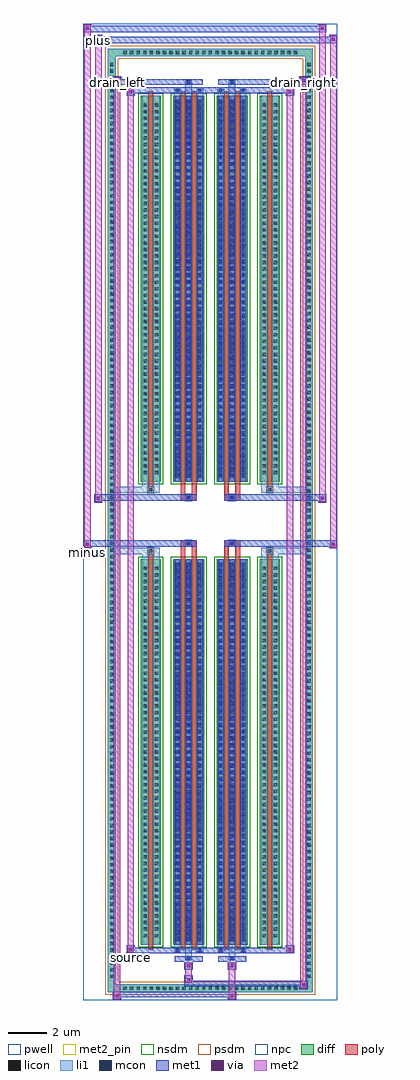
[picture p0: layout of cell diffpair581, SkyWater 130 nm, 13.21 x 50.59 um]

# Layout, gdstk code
import gdstk
lib = gdstk.Library(unit=1e-6, precision=5e-09)
def R(c, l, rs):  # rectangles x0, y0, x1, y1
    for r in rs: c.add(gdstk.rectangle(r[:2], r[2:], *l))
def A(c, l, x, y, w, h, nx, ny, dx, dy):  # array of equal rectangles
    R(c, l, [(x+i*dx, y+j*dy, x+i*dx+w, y+j*dy+h) for i in range(nx) for j in range(ny)])
def P(c, l, *ps):  # polygons
    for p in ps: c.add(gdstk.Polygon(p, *l))
pwell = (64, 44)
diff = (65, 20)
poly = (66, 20)
licon = (66, 44)
li1 = (67, 20)
mcon = (67, 44)
met1 = (68, 20)
via = (68, 44)
met2_pin = (69, 16)
met2 = (69, 20)
nsdm = (93, 44)
psdm = (94, 20)
npc = (95, 20)

diffpair581 = lib.new_cell('diffpair581')
R(diffpair581, pwell, [(-6.59,-24.86,6.59,25.73), (-3.91,-23.05,-0.01,-0.825), (0.01,-23.05,3.91,-0.825), (-3.91,0.825,-0.01,23.05), (0.01,0.825,3.91,23.05)])
A(diffpair581, diff, -4.625, -24.46, 0.41, 0.41, 27, 2, 0.34, 48.51)
A(diffpair581, diff, -5.32, -23.835, 0.41, 0.41, 1, 140, 0, 0.34)
A(diffpair581, diff, 4.91, -23.835, 0.41, 0.41, 1, 140, 0, 0.34)
R(diffpair581, diff, [(-4.625,-24.46,4.625,-24.05), (-5.32,-23.835,-4.91,23.835), (4.91,-23.835,5.32,23.835), (-3.6,-22.005,-2.57,-2.005), (-1.93,-22.005,-0.32,-2.005), (0.32,-22.005,1.93,-2.005), (2.57,-22.005,3.6,-2.005), (-3.6,2.005,-2.57,22.005), (-1.93,2.005,-0.32,22.005), (0.32,2.005,1.93,22.005), (2.57,2.005,3.6,22.005), (-4.625,24.05,4.625,24.46)])
P(diffpair581, diff, [(5.32,24.46),(-5.32,24.46),(-5.32,-24.05),(-4.91,-24.05),(-4.91,24.05),(4.91,24.05),(4.91,-24.05),(-4.91,-24.05),(-5.32,-24.05),(-5.32,-24.46),(5.32,-24.46)])
R(diffpair581, poly, [(-3.21,-22.255,-2.96,-1.755), (-1.54,-22.255,-1.29,-1.755), (-0.96,-22.255,-0.71,-1.755), (0.71,-22.255,0.96,-1.755), (1.29,-22.255,1.54,-1.755), (2.96,-22.255,3.21,-1.755), (-3.25,-1.755,-2.92,-1.425), (-3.25,-1.755,-2.92,-1.425), (-1.54,-1.755,-1.29,-1.355), (-0.96,-1.755,-0.71,-1.355), (0.71,-1.755,0.96,-1.355), (1.29,-1.755,1.54,-1.355), (2.92,-1.755,3.25,-1.425), (2.92,-1.755,3.25,-1.425), (-1.54,-1.355,-0.71,-1.025), (-1.29,-1.355,-0.96,-1.025), (0.71,-1.355,1.54,-1.025), (0.96,-1.355,1.29,-1.025), (-1.54,1.025,-0.71,1.355), (-1.29,1.025,-0.96,1.355), (0.71,1.025,1.54,1.355), (0.96,1.025,1.29,1.355), (-1.54,1.355,-1.29,1.755), (-0.96,1.355,-0.71,1.755), (0.71,1.355,0.96,1.755), (1.29,1.355,1.54,1.755), (-3.25,1.425,-2.92,1.755), (-3.25,1.425,-2.92,1.755), (2.92,1.425,3.25,1.755), (2.92,1.425,3.25,1.755), (-3.21,1.755,-2.96,22.255), (-1.54,1.755,-1.29,22.255), (-0.96,1.755,-0.71,22.255), (0.71,1.755,0.96,22.255), (1.29,1.755,1.54,22.255), (2.96,1.755,3.21,22.255)])
A(diffpair581, licon, -4.505, -24.34, 0.17, 0.17, 27, 2, 0.34, 48.51)
A(diffpair581, licon, -5.2, -23.715, 0.17, 0.17, 1, 140, 0, 0.34)
A(diffpair581, licon, 5.03, -23.715, 0.17, 0.17, 1, 140, 0, 0.34)
A(diffpair581, licon, -3.46, -21.61, 0.17, 0.17, 1, 57, 0, 0.34)
A(diffpair581, licon, -2.88, -21.61, 0.17, 0.17, 1, 57, 0, 0.34)
A(diffpair581, licon, -1.79, -21.61, 0.17, 0.17, 3, 57, 0.58, 0.34)
A(diffpair581, licon, 0.46, -21.61, 0.17, 0.17, 3, 57, 0.58, 0.34)
A(diffpair581, licon, 2.71, -21.61, 0.17, 0.17, 1, 57, 0, 0.34)
A(diffpair581, licon, 3.29, -21.61, 0.17, 0.17, 1, 57, 0, 0.34)
A(diffpair581, licon, -3.46, 2.4, 0.17, 0.17, 1, 57, 0, 0.34)
A(diffpair581, licon, -2.88, 2.4, 0.17, 0.17, 1, 57, 0, 0.34)
A(diffpair581, licon, -1.79, 2.4, 0.17, 0.17, 3, 57, 0.58, 0.34)
A(diffpair581, licon, 0.46, 2.4, 0.17, 0.17, 3, 57, 0.58, 0.34)
A(diffpair581, licon, 2.71, 2.4, 0.17, 0.17, 1, 57, 0, 0.34)
A(diffpair581, licon, 3.29, 2.4, 0.17, 0.17, 1, 57, 0, 0.34)
R(diffpair581, licon, [(-3.17,-1.675,-3,-1.505), (3,-1.675,3.17,-1.505), (-1.21,-1.275,-1.04,-1.105), (1.04,-1.275,1.21,-1.105), (-1.21,1.105,-1.04,1.275), (1.04,1.105,1.21,1.275), (-3.17,1.505,-3,1.675), (3,1.505,3.17,1.675)])
A(diffpair581, li1, -4.585, -24.42, 0.33, 0.33, 27, 2, 0.34, 48.51)
A(diffpair581, li1, -5.28, -23.795, 0.33, 0.33, 1, 140, 0, 0.34)
A(diffpair581, li1, 4.95, -23.795, 0.33, 0.33, 1, 140, 0, 0.34)
A(diffpair581, li1, -1.87, -22.005, 0.33, 20, 3, 2, 0.58, 24.01)
A(diffpair581, li1, 0.38, -22.005, 0.33, 20, 3, 2, 0.58, 24.01)
A(diffpair581, li1, -1.79, -21.81, 0.17, 0.17, 3, 55, 0.58, 0.36)
A(diffpair581, li1, -1.79, -21.81, 0.17, 19.61, 3, 2, 0.58, 24.01)
A(diffpair581, li1, 0.46, -21.81, 0.17, 0.17, 3, 55, 0.58, 0.36)
A(diffpair581, li1, 0.46, -21.81, 0.17, 19.61, 3, 2, 0.58, 24.01)
A(diffpair581, li1, -3.54, -21.69, 0.33, 0.33, 1, 57, 0, 0.34)
A(diffpair581, li1, -2.96, -21.69, 0.33, 0.33, 1, 57, 0, 0.34)
A(diffpair581, li1, -1.87, -21.69, 0.33, 0.33, 3, 57, 0.58, 0.34)
A(diffpair581, li1, 0.38, -21.69, 0.33, 0.33, 3, 57, 0.58, 0.34)
A(diffpair581, li1, 2.63, -21.69, 0.33, 0.33, 1, 57, 0, 0.34)
A(diffpair581, li1, 3.21, -21.69, 0.33, 0.33, 1, 57, 0, 0.34)
A(diffpair581, li1, -1.79, 2.2, 0.17, 0.17, 3, 55, 0.58, 0.36)
A(diffpair581, li1, 0.46, 2.2, 0.17, 0.17, 3, 55, 0.58, 0.36)
A(diffpair581, li1, -3.54, 2.32, 0.33, 0.33, 1, 57, 0, 0.34)
A(diffpair581, li1, -2.96, 2.32, 0.33, 0.33, 1, 57, 0, 0.34)
A(diffpair581, li1, -1.87, 2.32, 0.33, 0.33, 3, 57, 0.58, 0.34)
A(diffpair581, li1, 0.38, 2.32, 0.33, 0.33, 3, 57, 0.58, 0.34)
A(diffpair581, li1, 2.63, 2.32, 0.33, 0.33, 1, 57, 0, 0.34)
A(diffpair581, li1, 3.21, 2.32, 0.33, 0.33, 1, 57, 0, 0.34)
R(diffpair581, li1, [(-5.32,-24.46,-4.91,-24.05), (-5.32,-24.46,-4.91,-24.05), (-4.91,-24.46,4.91,-24.05), (4.91,-24.46,5.32,-24.05), (4.91,-24.46,5.32,-24.05), (-5.32,-24.05,-4.91,24.05), (4.91,-24.05,5.32,24.05), (-1.29,-22.81,-0.96,-22.005), (-1.21,-22.81,-1.04,-22.64), (0.96,-22.81,1.29,-22.005), (1.04,-22.81,1.21,-22.64), (-1.87,-22.38,-1.54,-22.005), (-1.79,-22.38,-1.62,-22.21), (-0.71,-22.38,-0.38,-22.005), (-0.63,-22.38,-0.46,-22.21), (0.38,-22.38,0.71,-22.005), (0.46,-22.38,0.63,-22.21), (1.54,-22.38,1.87,-22.005), (1.62,-22.38,1.79,-22.21), (-3.54,-22.005,-3.21,-2.005), (-2.96,-22.005,-2.63,-2.005), (2.63,-22.005,2.96,-2.005), (3.21,-22.005,3.54,-2.005), (-3.54,-2.005,-3.21,-1.425), (-2.96,-2.005,-2.63,-1.425), (2.63,-2.005,2.96,-1.425), (3.21,-2.005,3.54,-1.425), (-5.32,-1.755,-3.25,-1.425), (-3.54,-1.755,-3.25,-1.425), (-3.25,-1.755,-2.92,-1.425), (-2.92,-1.755,-2.63,-1.425), (2.63,-1.755,2.92,-1.425), (2.92,-1.755,3.25,-1.425), (2.92,-1.755,5.32,-1.425), (3.25,-1.755,3.54,-1.425), (-1.29,-1.355,-0.96,-1.025), (0.96,-1.355,1.29,-1.025), (-1.29,1.025,-0.96,1.355), (0.96,1.025,1.29,1.355), (-5.32,1.425,-3.25,1.755), (-3.54,1.425,-3.25,1.755), (-3.54,1.425,-3.21,2.005), (-3.25,1.425,-2.92,1.755), (-2.96,1.425,-2.63,2.005), (-2.92,1.425,-2.63,1.755), (2.63,1.425,2.92,1.755), (2.63,1.425,2.96,2.005), (2.92,1.425,3.25,1.755), (2.92,1.425,5.32,1.755), (3.21,1.425,3.54,2.005), (3.25,1.425,3.54,1.755), (-3.54,2.005,-3.21,22.005), (-2.96,2.005,-2.63,22.005), (2.63,2.005,2.96,22.005), (3.21,2.005,3.54,22.005), (-1.87,22.005,-1.54,22.38), (-1.29,22.005,-0.96,22.81), (-0.71,22.005,-0.38,22.38), (0.38,22.005,0.71,22.38), (0.96,22.005,1.29,22.81), (1.54,22.005,1.87,22.38), (-1.79,22.21,-1.62,22.38), (-0.63,22.21,-0.46,22.38), (0.46,22.21,0.63,22.38), (1.62,22.21,1.79,22.38), (-1.21,22.64,-1.04,22.81), (1.04,22.64,1.21,22.81), (-5.32,24.05,-4.91,24.46), (-5.32,24.05,-4.91,24.46), (-4.91,24.05,4.91,24.46), (4.91,24.05,5.32,24.46), (4.91,24.05,5.32,24.46)])
A(diffpair581, mcon, -1.79, -21.81, 0.17, 0.17, 3, 55, 0.58, 0.36)
A(diffpair581, mcon, 0.46, -21.81, 0.17, 0.17, 3, 55, 0.58, 0.36)
A(diffpair581, mcon, -1.79, 2.2, 0.17, 0.17, 3, 55, 0.58, 0.36)
A(diffpair581, mcon, 0.46, 2.2, 0.17, 0.17, 3, 55, 0.58, 0.36)
R(diffpair581, mcon, [(-1.21,-22.81,-1.04,-22.64), (1.04,-22.81,1.21,-22.64), (-1.79,-22.38,-1.62,-22.21), (-0.63,-22.38,-0.46,-22.21), (0.46,-22.38,0.63,-22.21), (1.62,-22.38,1.79,-22.21), (-1.21,-1.275,-1.04,-1.105), (1.04,-1.275,1.21,-1.105), (-1.21,1.105,-1.04,1.275), (1.04,1.105,1.21,1.275), (-1.79,22.21,-1.62,22.38), (-0.63,22.21,-0.46,22.38), (0.46,22.21,0.63,22.38), (1.62,22.21,1.79,22.38), (-1.21,22.64,-1.04,22.81), (1.04,22.64,1.21,22.81)])
A(diffpair581, met1, -1.85, -22.005, 0.29, 20, 3, 2, 0.58, 24.01)
A(diffpair581, met1, 0.4, -22.005, 0.29, 20, 3, 2, 0.58, 24.01)
A(diffpair581, met1, -1.85, -21.87, 0.29, 0.29, 3, 55, 0.58, 0.36)
A(diffpair581, met1, 0.4, -21.87, 0.29, 0.29, 3, 55, 0.58, 0.36)
A(diffpair581, met1, -1.85, 2.14, 0.29, 0.29, 3, 55, 0.58, 0.36)
A(diffpair581, met1, 0.4, 2.14, 0.29, 0.29, 3, 55, 0.58, 0.36)
R(diffpair581, met1, [(-5.05,-24.86,-4.62,-24.43), (0.91,-24.86,1.34,-24.43), (-5.05,-24.72,1.34,-24.43), (4.62,-24.29,5.05,-23.86), (-1.34,-24.15,5.05,-23.86), (-1.34,-24.01,-0.91,-23.58), (-1.34,-23.3,-0.91,-22.87), (0.91,-23.3,1.34,-22.87), (-1.85,-22.87,-0.4,-22.58), (-1.27,-22.87,-0.98,-22.58), (0.4,-22.87,1.85,-22.58), (0.98,-22.87,1.27,-22.58), (-4.34,-22.44,-3.91,-22.01), (-4.34,-22.44,-1.85,-22.15), (-1.85,-22.44,-1.56,-22.15), (-1.85,-22.44,-0.4,-22.15), (-0.69,-22.44,-0.4,-22.15), (-0.4,-22.44,0.4,-22.15), (0.4,-22.44,0.69,-22.15), (0.4,-22.44,1.85,-22.15), (1.56,-22.44,1.85,-22.15), (1.85,-22.44,4.34,-22.15), (3.91,-22.44,4.34,-22.01), (-6.59,-1.455,-6.16,-1.025), (6.16,-1.455,6.59,-1.025), (-6.59,-1.355,-0.71,-1.025), (-1.54,-1.355,-0.71,-1.025), (0.71,-1.355,1.54,-1.025), (0.71,-1.355,6.59,-1.025), (-1.27,-1.335,-0.98,-1.045), (0.98,-1.335,1.27,-1.045), (-6.02,0.925,-5.59,1.355), (5.59,0.925,6.02,1.355), (-6.02,1.025,-1.54,1.355), (-1.54,1.025,-0.71,1.355), (0.71,1.025,1.54,1.355), (1.54,1.025,6.02,1.355), (-1.27,1.045,-0.98,1.335), (0.98,1.045,1.27,1.335), (-4.34,22.01,-3.91,22.44), (3.91,22.01,4.34,22.44), (-4.34,22.15,-1.85,22.44), (-1.85,22.15,-1.56,22.44), (-1.85,22.15,-0.4,22.44), (-0.69,22.15,-0.4,22.44), (-0.4,22.15,0.4,22.44), (0.4,22.15,0.69,22.44), (0.4,22.15,1.85,22.44), (1.56,22.15,1.85,22.44), (1.85,22.15,4.34,22.44), (-5.05,22.58,-4.62,23.01), (-5.05,22.58,-1.85,22.87), (-1.85,22.58,-0.4,22.87), (-1.27,22.58,-0.98,22.87), (0.4,22.58,1.85,22.87), (0.98,22.58,1.27,22.87), (1.85,22.58,5.05,22.87), (4.62,22.58,5.05,23.01), (-6.02,24.73,-5.59,25.16), (-6.02,24.73,-3.91,25.06), (-3.91,24.73,3.91,25.06), (3.91,24.73,6.59,25.06), (6.16,24.73,6.59,25.16), (-6.59,25.3,-6.16,25.73), (-6.59,25.3,-3.91,25.63), (-3.91,25.3,3.91,25.63), (3.91,25.3,6.02,25.63), (5.59,25.3,6.02,25.73)])
R(diffpair581, via, [(-4.91,-24.72,-4.76,-24.57), (1.05,-24.72,1.2,-24.57), (4.76,-24.15,4.91,-24), (-1.2,-23.87,-1.05,-23.72), (-1.2,-23.16,-1.05,-23.01), (1.05,-23.16,1.2,-23.01), (-4.2,-22.3,-4.05,-22.15), (4.05,-22.3,4.2,-22.15), (-6.45,-1.315,-6.3,-1.165), (6.3,-1.315,6.45,-1.165), (-5.88,1.065,-5.73,1.215), (5.73,1.065,5.88,1.215), (-4.2,22.15,-4.05,22.3), (4.05,22.15,4.2,22.3), (-4.91,22.72,-4.76,22.87), (4.76,22.72,4.91,22.87), (-5.88,24.87,-5.73,25.02), (6.3,24.87,6.45,25.02), (-6.45,25.44,-6.3,25.59), (5.73,25.44,5.88,25.59)])
R(diffpair581, met2_pin, [(-4.375,-22.89,-3.875,-22.39), (-6.625,-1.905,-6.125,-1.405), (-5.085,22.46,-4.585,22.96), (4.585,22.46,5.085,22.96), (-6.055,24.61,-5.555,25.11)])
R(diffpair581, met2, [(-5,-24.81,-4.67,-24.48), (-5,-24.81,-4.67,22.96), (0.96,-24.81,1.29,-24.48), (0.96,-24.48,1.29,-23.25), (4.67,-24.24,5,-23.91), (4.67,-24.24,5,22.96), (-1.29,-23.96,-0.96,-23.63), (-1.29,-23.63,-0.96,-23.25), (-1.29,-23.25,-0.96,-22.92), (0.96,-23.25,1.29,-22.92), (-4.29,-22.39,-3.96,-22.06), (-4.29,-22.39,-3.96,22.39), (3.96,-22.39,4.29,-22.06), (3.96,-22.39,4.29,22.39), (-6.54,-1.405,-6.21,-1.075), (-6.54,-1.405,-6.21,25.68), (6.21,-1.405,6.54,-1.075), (6.21,-1.405,6.54,25.11), (-5.97,0.975,-5.64,1.305), (-5.97,0.975,-5.64,25.11), (5.64,0.975,5.97,1.305), (5.64,0.975,5.97,25.68), (-4.29,22.06,-3.96,22.39), (3.96,22.06,4.29,22.39), (-5,22.63,-4.67,22.96), (4.67,22.63,5,22.96), (-5.97,24.78,-5.64,25.11), (6.21,24.78,6.54,25.11), (-6.54,25.35,-6.21,25.68), (5.64,25.35,5.97,25.68)])
P(diffpair581, met2, [(6.54,-1.405),(6.54,-1.405),(6.54,-1.075),(6.54,-1.075)],
  [(6.54,24.78),(6.54,24.78),(6.54,25.11),(6.54,25.11)],
  [(-6.21,-1.405),(-6.21,-1.405),(-6.21,-1.075),(-6.21,-1.075)],
  [(-6.21,25.35),(-6.21,25.35),(-6.21,25.68),(-6.21,25.68)],
  [(5.97,0.975),(5.97,0.975),(5.97,1.305),(5.97,1.305)],
  [(5.97,25.35),(5.97,25.35),(5.97,25.68),(5.97,25.68)],
  [(-5.64,0.975),(-5.64,0.975),(-5.64,1.305),(-5.64,1.305)],
  [(-5.64,24.78),(-5.64,24.78),(-5.64,25.11),(-5.64,25.11)],
  [(-4.67,-24.81),(-4.67,-24.81),(-4.67,-24.48),(-4.67,-24.48)],
  [(-4.67,22.63),(-4.67,22.63),(-4.67,22.96),(-4.67,22.96)],
  [(5,-24.24),(5,-24.24),(5,-23.91),(5,-23.91)],
  [(5,22.63),(5,22.63),(5,22.96),(5,22.96)],
  [(-3.96,-22.39),(-3.96,-22.39),(-3.96,-22.06),(-3.96,-22.06)],
  [(-3.96,22.06),(-3.96,22.06),(-3.96,22.39),(-3.96,22.39)],
  [(4.29,-22.39),(4.29,-22.39),(4.29,-22.06),(4.29,-22.06)],
  [(4.29,22.06),(4.29,22.06),(4.29,22.39),(4.29,22.39)])
R(diffpair581, nsdm, [(-3.73,-22.135,-2.44,-1.875), (-2.06,-22.135,-0.19,-1.875), (0.19,-22.135,2.06,-1.875), (2.44,-22.135,3.73,-1.875), (-3.73,1.875,-2.44,22.135), (-2.06,1.875,-0.19,22.135), (0.19,1.875,2.06,22.135), (2.44,1.875,3.73,22.135)])
P(diffpair581, psdm, [(5.45,24.59),(-5.45,24.59),(-5.45,-23.92),(-4.78,-23.92),(-4.78,23.92),(4.78,23.92),(4.78,-23.92),(-4.78,-23.92),(-5.45,-23.92),(-5.45,-24.59),(5.45,-24.59)])
R(diffpair581, npc, [(-3.27,-1.775,-2.9,-1.405), (2.9,-1.775,3.27,-1.405), (-1.31,-1.375,-0.94,-1.005), (0.94,-1.375,1.31,-1.005), (-1.31,1.005,-0.94,1.375), (0.94,1.005,1.31,1.375), (-3.27,1.405,-2.9,1.775), (2.9,1.405,3.27,1.775)])
diffpair581.add(gdstk.Label('minus', (-6.375,-1.655), layer=69, texttype=5))
diffpair581.add(gdstk.Label('drain_right', (4.835,22.71), layer=69, texttype=5))
diffpair581.add(gdstk.Label('drain_left', (-4.835,22.71), layer=69, texttype=5))
diffpair581.add(gdstk.Label('source', (-4.125,-22.64), layer=69, texttype=5))
diffpair581.add(gdstk.Label('plus', (-5.805,24.86), layer=69, texttype=5))

lib.write_gds('diffpair581.gds')
